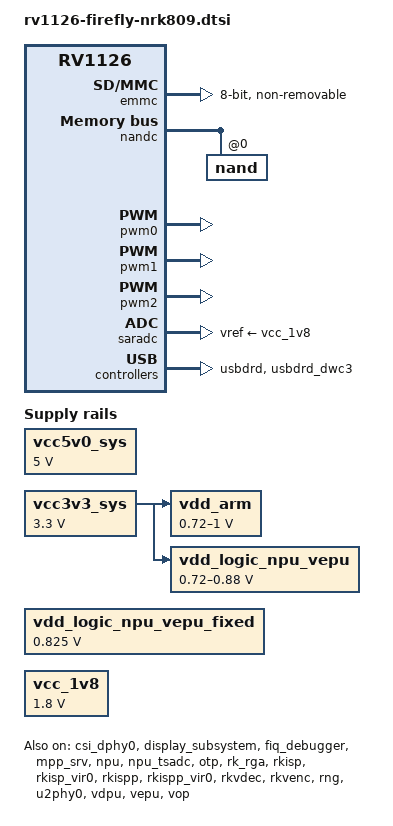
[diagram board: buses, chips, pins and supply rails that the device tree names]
// SPDX-License-Identifier: (GPL-2.0+ OR MIT)
/*
 * Copyright (c) 2019 Fuzhou Rockchip Electronics Co., Ltd.
 */

#include <dt-bindings/display/drm_mipi_dsi.h>
#include <dt-bindings/input/input.h>

/ {
	vcc5v0_sys: vccsys {
		compatible = "regulator-fixed";
		regulator-name = "vcc5v0_sys";
		regulator-always-on;
		regulator-boot-on;
		regulator-min-microvolt = <5000000>;
		regulator-max-microvolt = <5000000>;
	};

	vcc3v3_sys: vcc33sys {
		compatible = "regulator-fixed";
		regulator-name = "vcc3v3_sys";
		regulator-always-on;
		regulator-boot-on;
		regulator-min-microvolt = <3300000>;
		regulator-max-microvolt = <3300000>;
	};


	vdd_arm: vdd-arm {
		compatible = "pwm-regulator";
		pwms = <&pwm0 0 5000 1>;
		regulator-name = "vdd_arm";
		regulator-min-microvolt = <720000>;
		regulator-max-microvolt = <1000000>;
		regulator-init-microvolt = <825000>;
		regulator-always-on;
		regulator-boot-on;
		regulator-settling-time-up-us = <250>;
		pwm-supply = <&vcc3v3_sys>;
		status = "okay";
	};

	/*
	 * pwm1 is reserved as voltage adjustment in hardware
	 * use fixed regulator to avoid voltage adjustment by software
	 */
	vdd_logic_npu_vepu: vdd-logic-npu-vepu {
		compatible = "pwm-regulator";
		pwms = <&pwm1 0 5000 1>;
		regulator-name = "vdd_logic_npu_vepu";
		regulator-min-microvolt = <720000>;
		regulator-max-microvolt = <880000>;
		regulator-init-microvolt = <825000>;
		regulator-always-on;
		regulator-boot-on;
		regulator-settling-time-up-us = <250>;
		pwm-supply = <&vcc3v3_sys>;
		status = "okay";
	};

	vdd_logic_npu_vepu_fixed: vdd-logic-npu-vepu-fixed {
		compatible = "regulator-fixed";
		regulator-name = "vdd_logic_npu_vepu-fixed";
		regulator-always-on;
		regulator-boot-on;
		regulator-min-microvolt = <825000>;
		regulator-max-microvolt = <825000>;
	};

	vcc_1v8: vcc-1v8 {
		compatible = "regulator-fixed";
		regulator-name = "vcc_1v8";
		regulator-always-on;
		regulator-boot-on;
		regulator-min-microvolt = <1800000>;
		regulator-max-microvolt = <1800000>;
	};
};

&cpu0 {
	cpu-supply = <&vdd_arm>;
};

&cpu_tsadc {
	rockchip,hw-tshut-mode = <0>; /* tshut mode 0:CRU 1:GPIO */
	rockchip,hw-tshut-polarity = <0>; /* tshut polarity 0:LOW 1:HIGH */
	pinctrl-names = "gpio", "otpout";
	pinctrl-0 = <&tsadcm0_pins>;
	pinctrl-1 = <&tsadc_shutorg>;
	status = "okay";
};

&csi_dphy0 {
	status = "okay";

	ports {
		#address-cells = <1>;
		#size-cells = <0>;

		port@1 {
			reg = <1>;
			#address-cells = <1>;
			#size-cells = <0>;

			csidphy0_out: endpoint@0 {
				reg = <0>;
				remote-endpoint = <&isp_in>;
			};
		};
	};
};

&display_subsystem {
	status = "okay";
};

&emmc {
	bus-width = <8>;
	cap-mmc-highspeed;
	non-removable;
	mmc-hs200-1_8v;
	rockchip,default-sample-phase = <90>;
	supports-emmc;
	/delete-property/ pinctrl-names;
	/delete-property/ pinctrl-0;
	status = "okay";
};

&fiq_debugger {
	status = "okay";
};

&mpp_srv {
	status = "okay";
};

&nandc {
	/delete-property/ pinctrl-names;
	/delete-property/ pinctrl-0;
	#address-cells = <1>;
	#size-cells = <0>;

	nand@0 {
		reg = <0>;
		nand-bus-width = <8>;
		nand-ecc-mode = "hw";
		nand-ecc-strength = <16>;
		nand-ecc-step-size = <1024>;
	};
};

&npu {
	npu-supply = <&vdd_logic_npu_vepu>;
	status = "okay";
};

&npu_tsadc {
	rockchip,hw-tshut-mode = <0>; /* tshut mode 0:CRU 1:GPIO */
	rockchip,hw-tshut-polarity = <0>; /* tshut polarity 0:LOW 1:HIGH */
	pinctrl-names = "gpio", "otpout";
	pinctrl-0 = <&tsadcm0_pins>;
	pinctrl-1 = <&tsadc_shutorg>;
	status = "okay";
};

&optee {
	status = "disabled";
};

&otp {
	status = "okay";
};

&pinctrl {
	pmic {
		/omit-if-no-ref/
		pmic_int: pmic_int {
			rockchip,pins =
				<0 RK_PB1 RK_FUNC_GPIO &pcfg_pull_up>;
		};

		/omit-if-no-ref/
		soc_slppin_gpio: soc_slppin_gpio {
			rockchip,pins =
				<0 RK_PB2 RK_FUNC_GPIO &pcfg_output_low>;
		};

		/omit-if-no-ref/
		soc_slppin_slp: soc_slppin_slp {
			rockchip,pins =
				<0 RK_PB2 RK_FUNC_1 &pcfg_pull_none>;
		};

		/omit-if-no-ref/
		soc_slppin_rst: soc_slppin_rst {
			rockchip,pins =
				<0 RK_PB2 RK_FUNC_2 &pcfg_pull_none>;
		};
	};
};

&pmu_io_domains {
	status = "okay";

	pmuio0-supply = <&vcc3v3_sys>;
	pmuio1-supply = <&vcc3v3_sys>;
	vccio2-supply = <&vcc3v3_sys>;
	vccio4-supply = <&vcc_1v8>;
	vccio5-supply = <&vcc3v3_sys>;
	vccio6-supply = <&vcc3v3_sys>;
	vccio7-supply = <&vcc3v3_sys>;
};

&pwm0 {
	status = "okay";
	pinctrl-names = "active";
	pinctrl-0 = <&pwm0m0_pins_pull_down>;
};


&pwm1 {
	status = "okay";
	pinctrl-names = "active";
	pinctrl-0 = <&pwm1m0_pins_pull_down>;
};

&pwm2 {
	status = "okay";
	pinctrl-names = "active";
	pinctrl-0 = <&pwm2m0_pins_pull_down>;
};


&ramoops {
	status = "okay";
};

&rk_rga {
	status = "okay";
};

&rkisp {
	status = "okay";
};

&rkisp_vir0 {
	status = "okay";

	ports {
		port@0 {
			reg = <0>;
			#address-cells = <1>;
			#size-cells = <0>;

			isp_in: endpoint@0 {
				reg = <0>;
				remote-endpoint = <&csidphy0_out>;
			};
		};
	};
};

&rkisp_mmu {
	status = "disabled";
};

&rkispp {
	rockchip,restart-monitor-en;
	status = "okay";
	/* the max input w h and fps of mulit sensor */
	//max-input = <2688 1520 30>;
};

&rkispp_vir0 {
	status = "okay";
};

&rkispp_mmu {
	status = "okay";
};

&rkvdec {
	status = "okay";
};

&rkvdec_mmu {
	status = "okay";
};

&rkvenc {
	venc-supply = <&vdd_logic_npu_vepu>;
	status = "okay";
};

&rkvenc_mmu {
	status = "okay";
};

&rng {
	status = "okay";
};

&saradc {
	status = "okay";
	vref-supply = <&vcc_1v8>;
};

&sfc {
	/delete-property/ pinctrl-names;
	/delete-property/ pinctrl-0;
	status = "disabled";
};

&u2phy0 {
	status = "okay";
	//vup-gpios = <&gpio0 RK_PC1 GPIO_ACTIVE_LOW>;
	u2phy_otg: otg-port {
		status = "okay";
		//rockchip,vbus-always-on;
	};
};

&usbdrd {
	status = "okay";
};

&usbdrd_dwc3 {
	status = "okay";
	//snps,tx-fifo-resize;
	extcon = <&u2phy0>;
	//dr_mode = "peripheral";
};

&vdpu {
	status = "okay";
};

&vepu {
	status = "okay";
};

&vpu_mmu {
	status = "okay";
};

&vop {
	status = "okay";
};

&vop_mmu {
	status = "okay";
};
